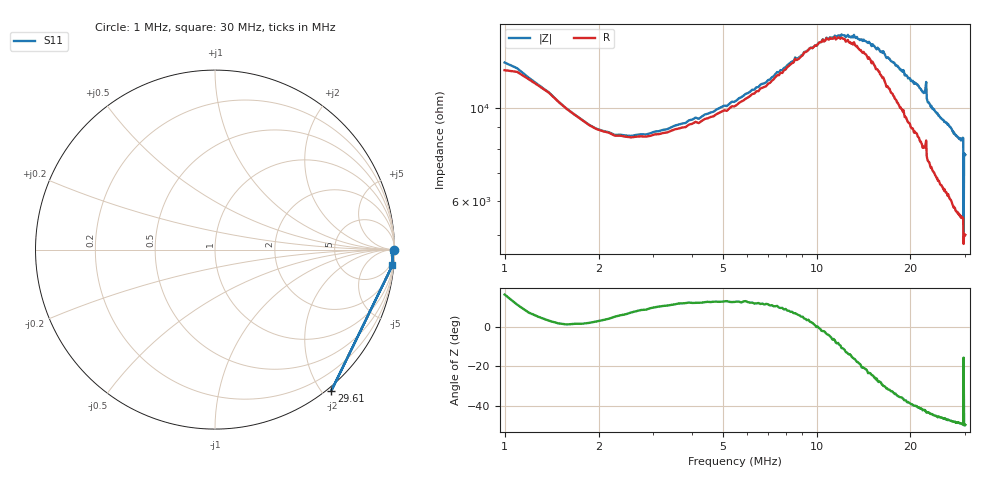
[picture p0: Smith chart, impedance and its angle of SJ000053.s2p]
!File created by NanoVNA-F V2
# Hz S RI R 50
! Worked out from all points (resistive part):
!   301 points, 1 MHz to 30 MHz, reference 50 ohm
!   read as one part in series: R = 12.2 kohm at 1.097 MHz
!   S11 on the Smith chart (normalised r, x): 1 MHz: open; 29.61 MHz: -0.05, -2.12; 30 MHz: 2, -23
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1000000  0.999 -0.000194  0.00742 -0.00218  0 0  0 0
1676662  1.002 -0.0114  0.0103 -0.000281  0 0  0 0
1966660  1.001 -0.0157  0.0111 -0.000528  0 0  0 0
2256658  0.9932 -0.0189  0.0114 -0.00103  0 0  0 0
2836654  0.9862 -0.0191  0.0113 -0.00173  0 0  0 0
5833300  0.9867 -0.0162  0.00902 -0.00207  0 0  0 0
8539948  0.9865 -0.0253  0.00747 -0.00091  0 0  0 0
1.06666e7  0.9881 -0.0296  0.00684 0.000329  0 0  0 0
1.317992e7  0.988 -0.0368  0.0064 0.00183  0 0  0 0
1.54999e7  0.9886 -0.0431  0.00641 0.0032  0 0  0 0
2.03332e7  0.9881 -0.0567  0.00662 0.00541  0 0  0 0
2.207319e7  0.9895 -0.064  0.00682 0.0061  0 0  0 0
2.226652e7  0.9883 -0.0648  0.00677 0.00608  0 0  0 0
2.245985e7  0.9889 -0.0632  0.00628 0.00589  0 0  0 0
2.255652e7  0.9885 -0.0638  0.0069 0.00641  0 0  0 0
2.274985e7  0.9894 -0.0659  0.00703 0.00658  0 0  0 0
2.51665e7  0.9887 -0.0717  0.00736 0.00752  0 0  0 0
2.903314e7  0.9867 -0.0851  0.00785 0.00888  0 0  0 0
2.951647e7  0.9885 -0.0869  0.00761 0.00887  0 0  0 0
2.961314e7  0.6488 -0.7851  0.0192 0.00525  0 0  0 0
2.97098e7  0.9876 -0.0878  0.00825 0.00964  0 0  0 0
2.99998e7  0.9872 -0.0862  0.00835 0.00971  0 0  0 0
